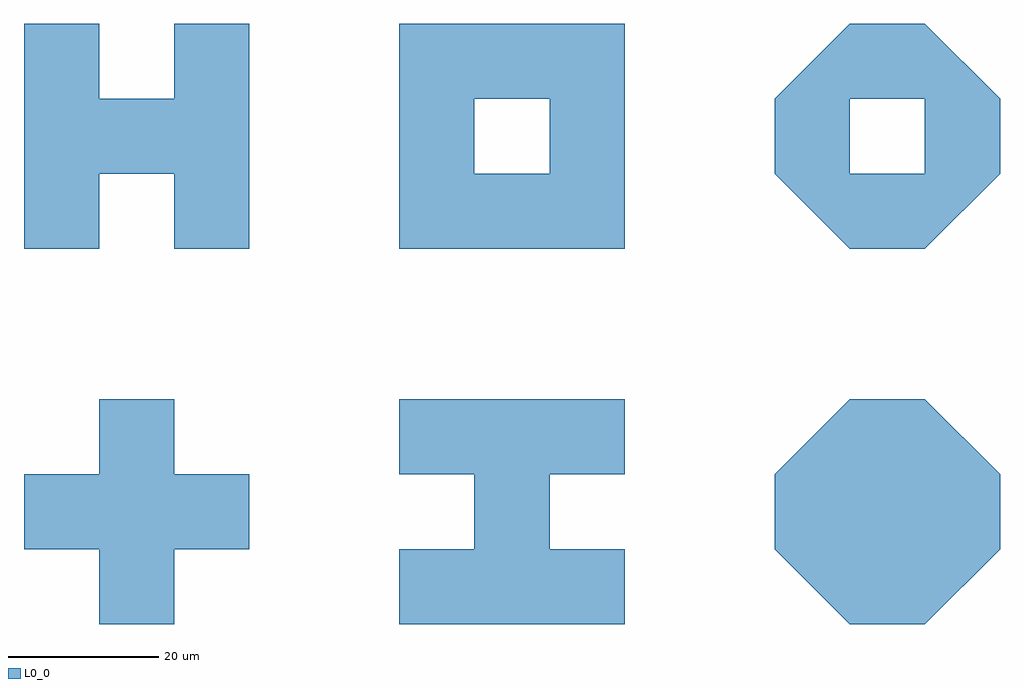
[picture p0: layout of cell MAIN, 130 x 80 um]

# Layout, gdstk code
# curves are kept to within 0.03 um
import gdstk
lib = gdstk.Library(unit=1e-6, precision=1e-09)
def P(c, l, *ps):  # polygons
    for p in ps: c.add(gdstk.Polygon(p, *l))
L0_0 = (0, 0)

cell_0 = lib.new_cell('CELL_0')
P(cell_0, L0_0, [(-5,-5),(-15,-5),(-15,5),(-5,5),(-5,15),(5,15),(5,5),(15,5),(15,-5),(5,-5),(5,-15),(-5,-15)])

cell_1 = lib.new_cell('CELL_1')
P(cell_1, L0_0, [(-15,-15),(-15,15),(-5,15),(-5,5),(5,5),(5,15),(15,15),(15,-15),(5,-15),(5,-5),(-5,-5),(-5,-15)])

cell_2 = lib.new_cell('CELL_2')
P(cell_2, L0_0, [(-15,-15),(-15,-5),(-5,-5),(-5,5),(-15,5),(-15,15),(15,15),(15,5),(5,5),(5,-5),(15,-5),(15,-15)])

cell_3 = lib.new_cell('CELL_3')
P(cell_3, L0_0, [(-15,-15),(-15,15),(15,15),(15,-15),(-15,-15),(-5,-5),(5,-5),(5,5),(-5,5),(-5,-5)])

cell_4 = lib.new_cell('CELL_4')
P(cell_4, L0_0, [(-15,-5),(-15,5),(-5,15),(5,15),(15,5),(15,-5),(5,-15),(-5,-15)])

cell_5 = lib.new_cell('CELL_5')
P(cell_5, L0_0, [(-15,-5),(-15,5),(-5,15),(5,15),(15,5),(15,-5),(5,-15),(-5,-15),(-15,-5),(5,-5),(5,5),(-5,5),(-5,-5)])

main = lib.new_cell('MAIN')
main.add(gdstk.Reference(cell_0, (25,25)))
main.add(gdstk.Reference(cell_1, (25,75)))
main.add(gdstk.Reference(cell_2, (75,25)))
main.add(gdstk.Reference(cell_3, (75,75)))
main.add(gdstk.Reference(cell_4, (125,25)))
main.add(gdstk.Reference(cell_5, (125,75)))

lib.write_gds('MAIN.gds')
